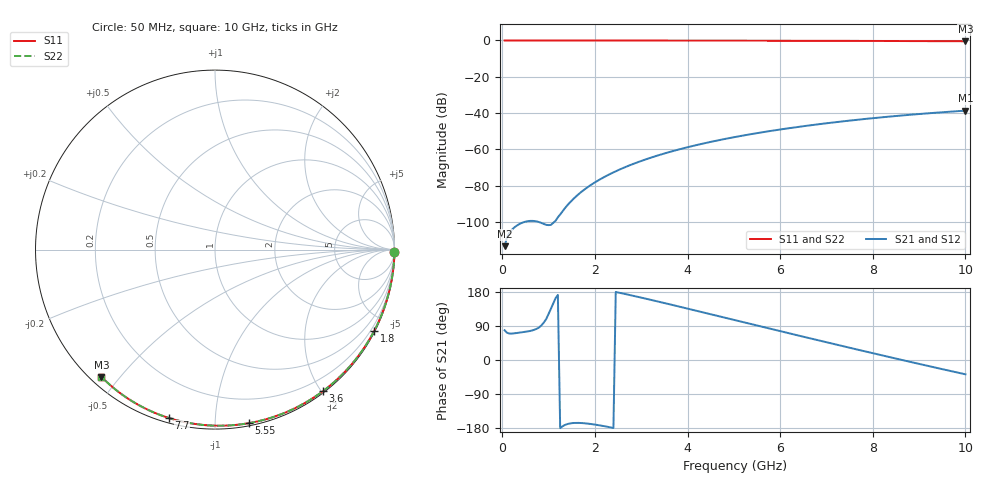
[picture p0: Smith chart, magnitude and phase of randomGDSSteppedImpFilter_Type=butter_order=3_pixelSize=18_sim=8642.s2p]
! freq	dB(S11)	phase(S11)	dB(S12)	phase(S12)
!  dB(S21)	phase(S21)	dB(S22)	phase(S22)
!S-par simulation data
#  GHz  S  DB  R 50
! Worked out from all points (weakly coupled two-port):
!   200 points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, 50 MHz to 10 GHz, reference 50 ohm
!   highest |S21| = -38.65 dB at 10 GHz (marker M1); lowest = -113.3 dB at 50 MHz (marker M2)
!   lowest |S11| = -0.4 dB at 10 GHz (marker M3), VSWR 39.17, Z = 1.53 - j22.4 ohm
!   |S11| at or under -10 dB: nowhere
!   |S22| runs from -0.4 to 0.0 dB; largest |S21 - S12| = 0
!   S11 on the Smith chart (normalised r, x): 50 MHz: open; 1.8 GHz: 0.04, -4.17; 3.6 GHz: 0.02, -2.02; 5.55 GHz: 0.02, -1.22; 7.7 GHz: 0.02, -0.76; 10 GHz: 0.03, -0.45
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0.05  -0.00 -0.8  -113.25 78.5  -113.25 78.5  -0.00 -0.8
0.45  -0.01 -6.8  -100.15 73.6  -100.15 73.6  -0.01 -6.8
0.9  -0.02 -13.6  -101.06 99.5  -101.06 99.5  -0.02 -13.6
1.75  -0.03 -26.3  -82.51 -166.7  -82.51 -166.7  -0.03 -26.3
1.8  -0.03 -27.0  -81.55 -167.2  -81.55 -167.2  -0.03 -27.0
1.9  -0.04 -28.5  -79.77 -168.7  -79.77 -168.7  -0.04 -28.5
2.05  -0.04 -30.7  -77.36 -171.4  -77.36 -171.4  -0.04 -30.7
2.25  -0.04 -33.6  -74.52 -175.7  -74.52 -175.7  -0.04 -33.6
2.45  -0.05 -36.5  -72.02 179.4  -72.02 179.4  -0.05 -36.5
2.65  -0.05 -39.4  -69.77 174.2  -69.77 174.2  -0.05 -39.4
3  -0.06 -44.4  -66.34 164.6  -66.34 164.6  -0.06 -44.4
3.4  -0.07 -50.0  -62.98 153.2  -62.98 153.2  -0.07 -50.0
3.6  -0.07 -52.8  -61.48 147.4  -61.48 147.4  -0.07 -52.8
4.3  -0.09 -62.4  -56.96 126.7  -56.96 126.7  -0.09 -62.4
5.05  -0.11 -72.4  -53.04 104.4  -53.04 104.4  -0.11 -72.4
5.55  -0.13 -78.8  -50.81 89.5  -50.81 89.5  -0.13 -78.8
6.1  -0.15 -85.8  -48.64 73.2  -48.64 73.2  -0.15 -85.8
6.7  -0.18 -93.2  -46.54 55.6  -46.54 55.6  -0.18 -93.2
7.7  -0.24 -105.3  -43.57 26.6  -43.57 26.6  -0.24 -105.3
8.35  -0.29 -112.9  -41.93 8.0  -41.93 8.0  -0.29 -112.9
9.15  -0.36 -122.1  -40.19 -14.5  -40.19 -14.5  -0.36 -122.1
10  -0.44 -131.7  -38.65 -37.7  -38.65 -37.7  -0.44 -131.7
